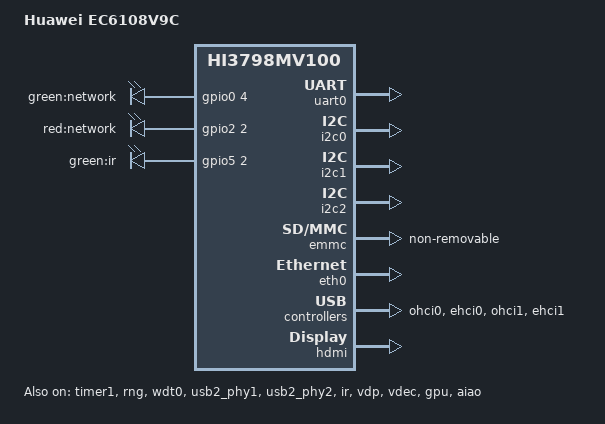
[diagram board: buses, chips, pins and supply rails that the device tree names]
// SPDX-License-Identifier: GPL-2.0-or-later OR MIT
/*
 * Copyright (c) 2023 David Yang
 */

/dts-v1/;
#include <dt-bindings/gpio/gpio.h>
#include "hi3798mv100.dtsi"

/ {
	model = "Huawei EC6108V9C";

	compatible = "hisilicon,hi3798mv100-ec6108v9c",
		     "hisilicon,hi3798mv100";

	aliases {
		serial0 = &uart0;
	};

	chosen {
		stdout-path = "serial0:115200n8";
	};

	i2c_hdmi: i2c-hdmi {
		compatible = "i2c-gpio";
		sda-gpios = <&gpio4 4 (GPIO_ACTIVE_HIGH | GPIO_OPEN_DRAIN)>;
		scl-gpios = <&gpio4 5 (GPIO_ACTIVE_HIGH | GPIO_OPEN_DRAIN)>;
		i2c-gpio,sda-open-drain;
		i2c-gpio,scl-open-drain;
		i2c-gpio,delay-us = <2>;	/* ~100 kHz */
		status = "disabled";
	};

	reserved-memory {
		#address-cells = <1>;
		#size-cells = <1>;
		ranges;

		/*
		 * Media pool: the display path allocates its frame buffers
		 * here, and so does the decoder -- both nodes point their
		 * memory-region at this phandle. A frame buffer has to be
		 * physically contiguous, because the channel takes one base
		 * address (VO_G0_ADDR) and this chip has no MMU on the display
		 * side; the decoder's dma-contig queues are single contiguous
		 * chunks for the same reason, which is what lets a decoded
		 * frame be scanned out without a copy. Reusable: the pages stay
		 * in the movable pool until a media allocation claims them.
		 *
		 * Sizing. An allocation wants `count' contiguous pages whose
		 * start is aligned to min(get_order(size),
		 * CONFIG_CMA_ALIGNMENT) pages -- 1 MiB here -- so a buffer
		 * costs its own size plus at most that much, and mixing sizes
		 * leaves 362-566 pages unusable.
		 *
		 * Two independent tiers. The decoder side follows the video
		 * size, while the console framebuffer and the user interface
		 * follow the mode being scanned out: that is what fixes the
		 * XRGB frame size, so an OSD over a 4K output costs a 4K frame
		 * whatever the video is. The display side is then 3 x O (fbdev
		 * console plus a double buffered UI). One decoder session costs
		 * 16 capture planes -- the picture message names references
		 * through a 16-entry table, and that is what clamps the capture
		 * queue -- plus 20 PMV slots at the same picture size, 4
		 * bitstream planes, one RBSP buffer and the device's message
		 * pool:
		 *
		 * O = XRGB8888 frame at the output mode, C = the capture plane
		 * at the video size (the wider of the HEVC and H.264 grids), P
		 * = 20 PMV slots, all in pages. A session wants 3O + 16C + P +
		 * 6376, where 6376 is 4 x 768 bitstream plus 768 RBSP plus 1536
		 * message pool plus 1000 fragments:
		 *
		 *  video     C      P   16C + P        3 x O
		 *   720p    363   1280     7088    720p:  2700
		 *  1080p    923   2560    17328   1080p:  6075
		 *    2K    1386   4500    26676     2K:  10800
		 *    4K    3069  10140    59244     4K:  24300
		 *
		 * The mixed pairs are not symmetric any more: the display term
		 * follows the output mode while the decoder term follows the
		 * video. Inside the 160 MiB below sit 4K out with 720p video
		 * (37764 pages) and 1080p out with 2K video (39127); 4K out
		 * with 1080p video wants 48004 pages = 187 MiB at the full
		 * depth, and 40620 pages = 158 MiB once the client queues only
		 * 8 capture planes. 4K both ways wants 89920 pages = 351 MiB,
		 * out of budget on a 1 GiB board. Take one O away if the
		 * console keeps a lower mode than the UI, two if there is no
		 * /dev/fb0 at all.
		 *
		 * Not priced in: a client may queue the bitstream queue up to
		 * VB2_MAX_FRAME planes, and a second session repeats its own
		 * capture, PMV, RBSP and bitstream terms.
		 */
		media_cma: media-cma {
			compatible = "shared-dma-pool";
			reusable;
			size = <0x0a000000>;
			alignment = <0x00400000>;
		};
	};

	leds {
		compatible = "gpio-leds";

		network {
			label = "green:network";
			gpios = <&gpio0 4 GPIO_ACTIVE_HIGH>;
			default-state = "off";
		};

		network-activity {
			label = "red:network";
			gpios = <&gpio2 2 GPIO_ACTIVE_HIGH>;
			default-state = "off";
		};

		ir {
			label = "green:ir";
			gpios = <&gpio5 2 GPIO_ACTIVE_HIGH>;
			panic-indicator;
			default-state = "off";
		};
	};
};

&emmc_data {
	pinctrl-single,bias-pulldown = <
		PINCTRL_PULLDOWN(0, 1, 0, 1)
	>;
	pinctrl-single,slew-rate = <
		PINCTRL_SLEW_RATE(1, 1)
	>;
	pinctrl-single,drive-strength = <
		PINCTRL_DRV_STRENGTH(6, 7)
	>;
};

&emmc_detect {
	pinctrl-single,bias-pulldown = <
		PINCTRL_PULLDOWN(0, 1, 0, 1)
	>;
	pinctrl-single,slew-rate = <
		PINCTRL_SLEW_RATE(1, 1)
	>;
	pinctrl-single,drive-strength = <
		PINCTRL_DRV_STRENGTH(3, 3)
	>;
};

&emmc_ccmd {
	pinctrl-single,bias-pullup = <
		PINCTRL_PULLUP(0, 1, 0, 1)
	>;
	pinctrl-single,slew-rate = <
		PINCTRL_SLEW_RATE(1, 1)
	>;
	pinctrl-single,drive-strength = <
		PINCTRL_DRV_STRENGTH(6, 7)
	>;
};

&emmc_cclk_out {
	pinctrl-single,bias-pulldown = <
		PINCTRL_PULLDOWN(0, 1, 0, 1)
	>;
	pinctrl-single,slew-rate = <
		PINCTRL_SLEW_RATE(1, 1)
	>;
	pinctrl-single,drive-strength = <
		PINCTRL_DRV_STRENGTH(5, 7)
	>;
};

&emmc_rst {
	pinctrl-single,bias-pullup = <
		PINCTRL_PULLUP(0, 1, 0, 1)
	>;
	pinctrl-single,slew-rate = <
		PINCTRL_SLEW_RATE(1, 1)
	>;
	pinctrl-single,drive-strength = <
		PINCTRL_DRV_STRENGTH(3, 3)
	>;
};

&timer1 {
	status = "okay";
};

&uart0 {
	status = "okay";
};

&rng {
	status = "okay";
};

&dmac {
	status = "okay";
};

/* The vendor tree ships all three I2C masters enabled. */
&i2c0 {
	status = "okay";
};

&i2c1 {
	status = "okay";
};

&i2c2 {
	status = "okay";
};

&wdt0 {
	status = "okay";
	timeout-sec = <60>;
};

&gpio0 {
	status = "okay";
};

&gpio2 {
	status = "okay";
};

&gpio4 {
	status = "okay";
};

&gpio5 {
	status = "okay";
};

&gpio6 {
	status = "okay";
};

&emmc {
	fifo-depth = <256>;
	clock-frequency = <100000000>;
	cap-mmc-highspeed;
	mmc-ddr-1_8v;
	mmc-hs200-1_8v;
	non-removable;
	status = "okay";
};

&eth0 {
	status = "okay";
};

&usb2_phy1 {
	status = "okay";
};

&usb2_phy2 {
	status = "okay";
};

&ohci0 {
	status = "okay";
};

&ehci0 {
	status = "okay";
};

&ohci1 {
	status = "okay";
};

&ehci1 {
	status = "okay";
};

&ir {
	status = "okay";
};

/*
 * No ddc-i2c-bus: the EDID is read through the transmitter's own DDC master, so
 * the HDMI block keeps the DDC pins to itself. An external bit-banging adapter
 * on those pins shares the bus with that master, and its reads fail while the
 * transmitter owns the pins.
 */
&hdmi {
	status = "okay";
};

&vdp {
	memory-region = <&media_cma>;
	status = "okay";
};

&vdec {
	memory-region = <&media_cma>;
	status = "okay";
};

&gpu {
	status = "okay";
};

&aiao {
	status = "okay";
};

/ {
	sound {
		compatible = "hisilicon,hi3798mv100-aiao-card";
		model = "hi3798mv100-hdmi";

		playback {
			cpu {
				sound-dai = <&aiao 0>;
			};
			codec {
				sound-dai = <&hdmi>;
			};
		};

		capture {
			cpu {
				sound-dai = <&aiao 1>;
			};
		};
	};
};
